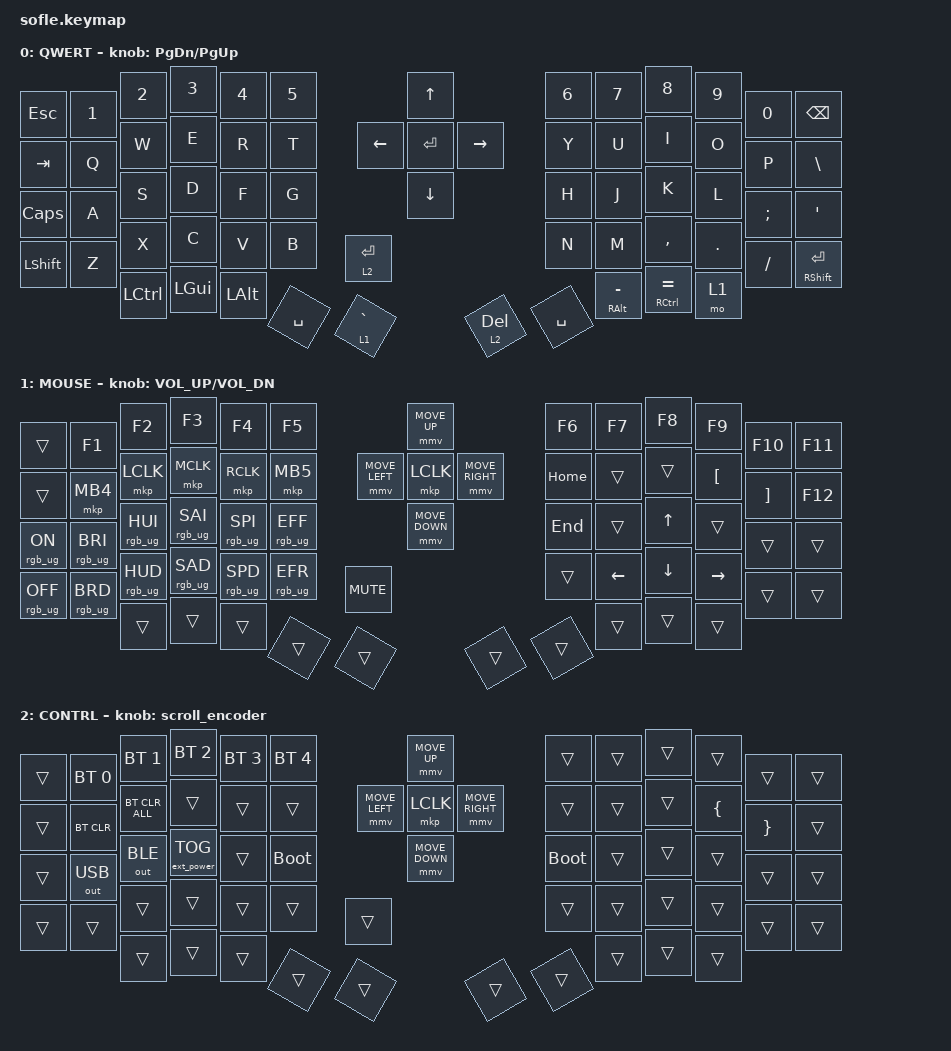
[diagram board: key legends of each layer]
#include <behaviors.dtsi>
#include <dt-bindings/zmk/bt.h>
#include <dt-bindings/zmk/ext_power.h>
#include <dt-bindings/zmk/keys.h>
#include <dt-bindings/zmk/mouse.h>
#include <dt-bindings/zmk/outputs.h>
#include <dt-bindings/zmk/rgb.h>

#include <input/processors.dtsi>

/*

   &mmv_input_listener {
       input-processors = <&zip_xy_scaler 2 1>;
   };

   &msc_input_listener {
       input-processors = <&zip_xy_scaler 2 1>;
   };

 */

#define ZMK_MOUSE_DEFAULT_MOVE_VAL 1200  // 600
#define ZMK_MOUSE_DEFAULT_SCRL_VAL 20    // 10
#define U_MS_U &mmv MOVE_UP
#define U_MS_D &mmv MOVE_DOWN
#define U_MS_L &mmv MOVE_LEFT
#define U_MS_R &mmv MOVE_RIGHT
#define ZMK_MOUSE_DEFAULT_MOVE_VAL 1200  //  600
#define ZMK_MOUSE_DEFAULT_SCRL_VAL 20    // 10

&lt {
    quick-tap-ms = <180>;
    flavor = "tap-preferred";
};

&mt {
    quick-tap-ms = <180>;
    flavor = "tap-preferred";
};

/ {
    behaviors {
        mmv {
            acceleration-exponent = <1>;      // 1
            time-to-max-speed-ms = <900>;    // 40
            delay-ms = <0>;                   // 0
        };

        msc {
            acceleration-exponent = <1>;      // 0
            time-to-max-speed-ms = <400>;      // 500
            delay-ms = <0>;                   //   10
        };
    };

    scroll_encoder: scroll_encoder {
        compatible = "zmk,behavior-sensor-rotate";
        #sensor-binding-cells = <0>;
        bindings = <&msc SCRL_DOWN>, <&msc SCRL_UP>;

        tap-ms = <30>;
    };

    keymap {
        compatible = "zmk,keymap";

        layer_0 {
            bindings = <
&kp ESC      &kp N1     &kp N2    &kp N3        &kp N4     &kp N5         &kp UP_ARROW     &kp N6     &kp N7     &kp N8          &kp N9           &kp N0    &kp BACKSPACE
&kp TAB      &kp Q      &kp W     &kp E         &kp R      &kp T          &kp DOWN_ARROW   &kp Y      &kp U      &kp I           &kp O            &kp P     &kp BSLH
&kp CAPS     &kp A      &kp S     &kp D         &kp F      &kp G          &kp LEFT_ARROW   &kp H      &kp J      &kp K           &kp L            &kp SEMI  &kp APOS
&kp LSHFT    &kp Z      &kp X     &kp C         &kp V      &kp B          &kp RIGHT_ARROW  &kp N      &kp M      &kp COMMA       &kp DOT          &kp FSLH  &mt RSHFT ENTER
&lt 2 ENTER  &kp LCTRL  &kp LGUI  &kp LEFT_ALT  &kp SPACE  &lt 1 GRAVE    &kp ENTER        &lt 2 DEL  &kp SPACE  &mt RALT MINUS  &mt RCTRL EQUAL  &mo 1
            >;

            sensor-bindings = <&inc_dec_kp PG_DN PG_UP>;
            display-name = "QWERT";
        };

        layer_1 {
            bindings = <
&trans           &kp F1           &kp F2           &kp F3           &kp F4           &kp F5             &mmv MOVE_UP     &kp F6    &kp F7    &kp F8    &kp F9     &kp F10   &kp F11
&trans           &mkp MB4         &mkp LCLK        &mkp MCLK        &mkp RCLK        &mkp MB5           &mmv MOVE_DOWN   &kp HOME  &trans    &trans    &kp LBKT   &kp RBKT  &kp F12
&rgb_ug RGB_ON   &rgb_ug RGB_BRI  &rgb_ug RGB_HUI  &rgb_ug RGB_SAI  &rgb_ug RGB_SPI  &rgb_ug RGB_EFF    &mmv MOVE_LEFT   &kp END   &trans    &kp UP    &trans     &trans    &trans
&rgb_ug RGB_OFF  &rgb_ug RGB_BRD  &rgb_ug RGB_HUD  &rgb_ug RGB_SAD  &rgb_ug RGB_SPD  &rgb_ug RGB_EFR    &mmv MOVE_RIGHT  &trans    &kp LEFT  &kp DOWN  &kp RIGHT  &trans    &trans
&kp C_MUTE       &trans           &trans           &trans           &trans           &trans             &mkp LCLK        &trans    &trans    &trans    &trans     &trans
            >;

            display-name = "MOUSE";
            sensor-bindings = <&inc_dec_kp C_VOL_UP C_VOL_DN>;
        };

        layer_2 {
            bindings = <
&trans  &bt BT_SEL 0  &bt BT_SEL 1    &bt BT_SEL 2       &bt BT_SEL 3  &bt BT_SEL 4    &mmv MOVE_UP     &trans       &trans  &trans  &trans    &trans    &trans
&trans  &bt BT_CLR    &bt BT_CLR_ALL  &trans             &trans        &trans          &mmv MOVE_DOWN   &trans       &trans  &trans  &kp LBRC  &kp RBRC  &trans
&trans  &out OUT_USB  &out OUT_BLE    &ext_power EP_TOG  &trans        &bootloader     &mmv MOVE_LEFT   &bootloader  &trans  &trans  &trans    &trans    &trans
&trans  &trans        &trans          &trans             &trans        &trans          &mmv MOVE_RIGHT  &trans       &trans  &trans  &trans    &trans    &trans
&trans  &trans        &trans          &trans             &trans        &trans          &mkp LCLK        &trans       &trans  &trans  &trans    &trans
            >;

            sensor-bindings = <&scroll_encoder>;
            display-name = "CONTRL";
        };
    };
};
